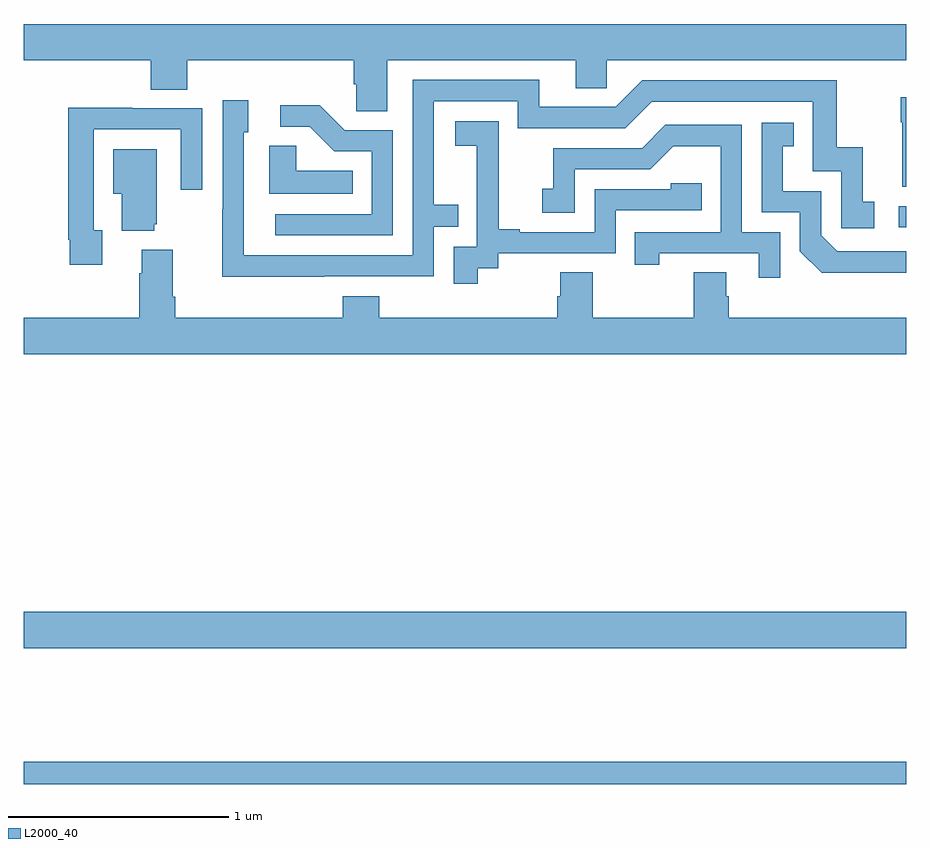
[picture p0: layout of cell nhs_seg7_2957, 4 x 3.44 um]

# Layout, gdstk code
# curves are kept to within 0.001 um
import gdstk
lib = gdstk.Library(unit=1e-6, precision=1e-09)
def R(c, l, rs):  # rectangles x0, y0, x1, y1
    for r in rs: c.add(gdstk.rectangle(r[:2], r[2:], *l))
def P(c, l, *ps):  # polygons
    for p in ps: c.add(gdstk.Polygon(p, *l))
L2000_40 = (2000, 40)

nhs_seg7_2957 = lib.new_cell('nhs_seg7_2957')
R(nhs_seg7_2957, L2000_40, [(301,1000,305,1000.1), (301,1000.616,305,1000.78), (304.965,1002.522,305,1002.618)])
P(nhs_seg7_2957, L2000_40, [(302.647,1003.28),(303.503,1003.28),(303.503,1003.153),(303.642,1003.153),(303.642,1003.28),(305,1003.28),(305,1003.444),(301,1003.444),(301,1003.28),(301.577,1003.28),(301.577,1003.147),(301.742,1003.147),(301.742,1003.28),(302.495,1003.28),(302.495,1003.171),(302.508,1003.171),(302.508,1003.048),(302.647,1003.048)],
  [(302.363,1002.3),(302.859,1002.3),(302.859,1002.525),(302.969,1002.525),(302.969,1002.626),(302.859,1002.626),(302.859,1003.095),(303.24,1003.095),(303.24,1002.972),(303.726,1002.972),(303.846,1003.092),(304.575,1003.092),(304.575,1002.777),(304.704,1002.777),(304.704,1002.519),(304.855,1002.519),(304.855,1002.639),(304.802,1002.639),(304.802,1002.886),(304.684,1002.886),(304.684,1003.188),(303.804,1003.188),(303.684,1003.068),(303.337,1003.068),(303.337,1003.191),(302.763,1003.191),(302.763,1002.396),(301.998,1002.396),(301.998,1002.954),(302.017,1002.954),(302.017,1003.099),(301.902,1003.099),(301.902,1002.605),(301.9,1002.605),(301.9,1002.299)],
  [(305,1003.111),(304.975,1003.111),(304.975,1002.998),(304.982,1002.998),(304.982,1002.707),(305,1002.707)],
  [(302.673,1002.963),(302.454,1002.963),(302.341,1003.076),(302.163,1003.076),(302.163,1002.978),(302.297,1002.978),(302.408,1002.867),(302.577,1002.867),(302.577,1002.582),(302.139,1002.582),(302.139,1002.486),(302.673,1002.486)],
  [(301.357,1002.51),(301.317,1002.51),(301.317,1002.966),(301.713,1002.966),(301.713,1002.693),(301.809,1002.693),(301.809,1003.062),(301.493,1003.062),(301.493,1003.064),(301.201,1003.064),(301.201,1002.466),(301.209,1002.466),(301.209,1002.354),(301.357,1002.354)],
  [(303.058,1002.337),(303.15,1002.337),(303.15,1002.405),(303.684,1002.405),(303.684,1002.6),(304.073,1002.6),(304.073,1002.723),(303.933,1002.723),(303.933,1002.696),(303.588,1002.696),(303.588,1002.501),(303.247,1002.501),(303.247,1002.514),(303.152,1002.514),(303.152,1002.797),(303.153,1002.797),(303.153,1003.003),(302.955,1003.003),(302.955,1002.893),(303.053,1002.893),(303.053,1002.665),(303.054,1002.665),(303.054,1002.435),(302.949,1002.435),(302.949,1002.267),(303.058,1002.267)],
  [(305,1002.414),(304.686,1002.414),(304.614,1002.486),(304.614,1002.687),(304.441,1002.687),(304.441,1002.891),(304.49,1002.891),(304.49,1002.997),(304.344,1002.997),(304.344,1002.591),(304.518,1002.591),(304.518,1002.414),(304.616,1002.317),(305,1002.317)],
  [(304.428,1002.501),(304.254,1002.501),(304.254,1002.987),(303.908,1002.987),(303.803,1002.882),(303.4,1002.882),(303.4,1002.697),(303.351,1002.697),(303.351,1002.588),(303.498,1002.588),(303.498,1002.786),(303.84,1002.786),(303.944,1002.89),(304.158,1002.89),(304.158,1002.501),(303.769,1002.501),(303.769,1002.354),(303.88,1002.354),(303.88,1002.405),(304.331,1002.405),(304.331,1002.294),(304.428,1002.294)],
  [(302.492,1002.778),(302.235,1002.778),(302.235,1002.893),(302.114,1002.893),(302.114,1002.674),(302.492,1002.674)],
  [(301.592,1002.537),(301.603,1002.537),(301.603,1002.877),(301.406,1002.877),(301.406,1002.674),(301.445,1002.674),(301.445,1002.506),(301.592,1002.506)],
  [(305,1002.112),(304.196,1002.112),(304.196,1002.21),(304.183,1002.21),(304.183,1002.32),(304.036,1002.32),(304.036,1002.112),(303.579,1002.112),(303.579,1002.32),(303.431,1002.32),(303.431,1002.21),(303.419,1002.21),(303.419,1002.112),(302.612,1002.112),(302.612,1002.211),(302.447,1002.211),(302.447,1002.112),(301.688,1002.112),(301.688,1002.208),(301.675,1002.208),(301.675,1002.421),(301.535,1002.421),(301.535,1002.314),(301.523,1002.314),(301.523,1002.112),(301,1002.112),(301,1001.948),(305,1001.948)])

lib.write_gds('nhs_seg7_2957.gds')
